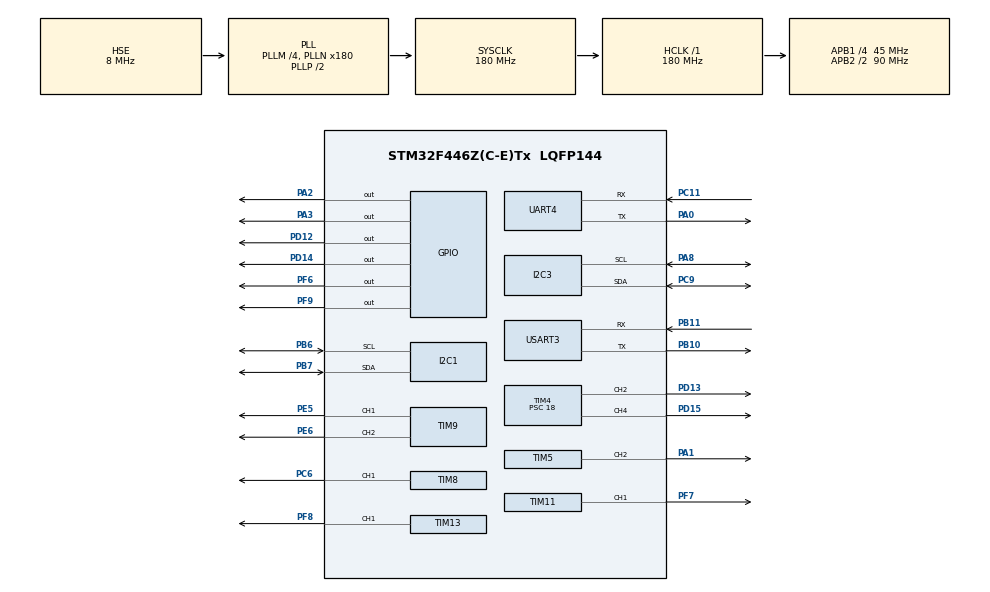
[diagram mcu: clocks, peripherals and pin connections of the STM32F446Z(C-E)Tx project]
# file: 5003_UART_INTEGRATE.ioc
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Mcu.Family=STM32F4
Mcu.Name=STM32F446Z(C-E)Tx
Mcu.Package=LQFP144
NVIC.PriorityGroup=NVIC_PRIORITYGROUP_4
NVIC.TIM7_IRQn=true\:0\:0\:false\:false\:true\:true\:true\:true
NVIC.UART4_IRQn=true\:0\:0\:false\:false\:true\:true\:true\:true
PA0-WKUP.Mode=Asynchronous
PA0-WKUP.Signal=UART4_TX
PA1.Signal=S_TIM5_CH2
PA13.Mode=Serial_Wire
PA13.Signal=SYS_JTMS-SWDIO
PA14.Mode=Serial_Wire
PA14.Signal=SYS_JTCK-SWCLK
PA2.Signal=GPIO_Output
PA3.Signal=GPIO_Output
PA8.Mode=I2C
PA8.Signal=I2C3_SCL
PB10.Mode=Asynchronous
PB10.Signal=USART3_TX
PB11.Mode=Asynchronous
PB11.Signal=USART3_RX
PB6.GPIO_Pu=GPIO_PULLUP
PB6.Mode=I2C
PB6.Signal=I2C1_SCL
PB7.GPIO_Pu=GPIO_PULLUP
PB7.Mode=I2C
PB7.Signal=I2C1_SDA
PC11.Mode=Asynchronous
PC11.Signal=UART4_RX
PC14-OSC32_IN.Mode=LSE-External-Oscillator
PC14-OSC32_IN.Signal=RCC_OSC32_IN
PC15-OSC32_OUT.Mode=LSE-External-Oscillator
PC15-OSC32_OUT.Signal=RCC_OSC32_OUT
PC6.Signal=S_TIM8_CH1
PC7.Signal=S_TIM8_CH2
PC8.Signal=S_TIM3_CH3
PC9.Mode=I2C
PC9.Signal=I2C3_SDA
PD12.Signal=GPIO_Output
PD13.Signal=S_TIM4_CH2
PD14.Signal=GPIO_Output
PD15.Signal=S_TIM4_CH4
PE5.Signal=S_TIM9_CH1
PE6.Signal=S_TIM9_CH2
PF0.Signal=I2C2_SDA
PF1.Signal=I2C2_SCL
PF6.Signal=GPIO_Output
PF7.Signal=S_TIM11_CH1
PF8.Signal=S_TIM13_CH1
PF9.Signal=GPIO_Output
PH0-OSC_IN.Mode=HSE-External-Oscillator
PH0-OSC_IN.Signal=RCC_OSC_IN
PH1-OSC_OUT.Mode=HSE-External-Oscillator
PH1-OSC_OUT.Signal=RCC_OSC_OUT
ProjectManager.HeapSize=0x200
ProjectManager.StackSize=0x400
ProjectManager.TargetToolchain=STM32CubeIDE
RCC.48MHZClocksFreq_Value=24000000
RCC.AHBFreq_Value=180000000
RCC.APB1CLKDivider=RCC_HCLK_DIV4
RCC.APB1Freq_Value=45000000
RCC.APB1TimFreq_Value=90000000
RCC.APB2CLKDivider=RCC_HCLK_DIV2
RCC.APB2Freq_Value=90000000
RCC.APB2TimFreq_Value=180000000
RCC.CortexFreq_Value=180000000
RCC.HCLKFreq_Value=180000000
RCC.HSE_VALUE=8000000
RCC.HSI_VALUE=16000000
RCC.PLLM=4
RCC.PLLMUL=RCC_PLL_MUL9
RCC.PLLN=180
RCC.PLLSourceVirtual=RCC_PLLSOURCE_HSE
RCC.PRESCALERUSB=RCC_USBCLKSOURCE_PLL_DIV1_5
RCC.SYSCLKFreq_VALUE=180000000
RCC.SYSCLKSource=RCC_SYSCLKSOURCE_PLLCLK
RCC.SYSCLKSourceVirtual=RCC_SYSCLKSOURCE_PLLCLK
RCC.USBFreq_Value=180000000
RCC.VCOOutputFreq_Value=360000000
SH.S_TIM11_CH1.0=TIM11_CH1,PWM Generation1 CH1
SH.S_TIM13_CH1.0=TIM13_CH1,PWM Generation1 CH1
SH.S_TIM3_CH3.0=TIM3_CH3
SH.S_TIM4_CH2.0=TIM4_CH2,PWM Generation2 CH2
SH.S_TIM4_CH4.0=TIM4_CH4,PWM Generation4 CH4
SH.S_TIM5_CH2.0=TIM5_CH2,PWM Generation2 CH2
SH.S_TIM8_CH1.0=TIM8_CH1,PWM Generation1 CH1
SH.S_TIM8_CH2.0=TIM8_CH2
SH.S_TIM9_CH1.0=TIM9_CH1,PWM Generation1 CH1
SH.S_TIM9_CH2.0=TIM9_CH2,PWM Generation2 CH2
TIM11.Channel=TIM_CHANNEL_1
TIM11.Period=255
TIM11.Prescaler=36
TIM13.Channel=TIM_CHANNEL_1
TIM13.Period=255
TIM13.Prescaler=18
TIM4.Channel-PWM\ Generation2\ CH2=TIM_CHANNEL_2
TIM4.Channel-PWM\ Generation4\ CH4=TIM_CHANNEL_4
TIM4.Period=255
TIM4.Prescaler=18
TIM5.Channel-PWM\ Generation2\ CH2=TIM_CHANNEL_2
TIM5.Period=255
TIM5.Prescaler=18
TIM7.Period=100-1
TIM7.Prescaler=9000-1
TIM8.Channel-PWM\ Generation1\ CH1=TIM_CHANNEL_1
TIM8.Period=255
TIM8.Prescaler=36
TIM9.Channel-PWM\ Generation1\ CH1=TIM_CHANNEL_1
TIM9.Channel-PWM\ Generation2\ CH2=TIM_CHANNEL_2
UART4.VirtualMode=Asynchronous
USART3.VirtualMode=VM_ASYNC
VP_TIM11_VS_ClockSourceINT.Mode=Enable_Timer
VP_TIM13_VS_ClockSourceINT.Mode=Enable_Timer
VP_TIM4_VS_ClockSourceINT.Mode=Internal
VP_TIM5_VS_ClockSourceINT.Mode=Internal
VP_TIM7_VS_ClockSourceINT.Mode=Enable_Timer
VP_TIM8_VS_ClockSourceINT.Mode=Internal
VP_TIM9_VS_ClockSourceINT.Mode=Internal
board=NUCLEO-F446ZE

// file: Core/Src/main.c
/* USER CODE BEGIN Header */
/* USER CODE END Header */
#include "main.h"

/* USER CODE BEGIN Includes */

#include<stdio.h>
#include<stdbool.h>
#include<stdint.h>
#include<string.h>
#include<math.h>
#include<stdlib.h>
#include"Encoderlib.h"
#include"Cytron.h"
#include"BNO055_STM32.h"
#include"BTS7960.h"
#include"OdriveS1.h"
#include"PCA9685.h"

/* USER CODE END Includes */

/* USER CODE BEGIN PD */

Cytron m1, m2, m3;
Cytron SM1, Belt, Turret;
BTS conveyer;
PCA_t PCA;

encoder_instance L_enc, R_enc, F_enc;
uint16_t timer_counter1, timer_counter2, timer_counter3, timer_counter4;
float L_dist, R_dist, F_dist;
#define CPR 8192
#define WHEEL_RADIUS 5.4/2.0

#define LENGTH1 13.5
#define LENGTH2 13.5
#define LENGTH3 26        // x axis wheel

#define PI 3.14159265358979323846
float x_local, y_local, x_global, y_global;
double FCount = 0, LCount = 0, RCount = 0;
double prevFCount = 0, prevLCount = 0, prevRCount = 0;
double dF, dL, dR;
double xPosition = 0;
double yPosition = 0;
double thetaPosition = 0;

double deltaX, deltaY;
double deltaX_global, deltaY_global;

bool reached = false;

double prevTheta = 0;   // IMU previous heading

#define BNO055_ADDR (0x28 << 1)
#define PWR_MODE 0x3E
#define OPR_MODE 0x3D
#define EUL_DATA_START 0x1A

uint8_t bno_data[6];
float current_heading, current_roll, current_pitch;

#define data_size 7
#define slave_addr 8

char buffer[100];

#define radius       1
#define length       1
#define MAX_PWM       150
#define LINEAR_PWM   60
#define DEADZONE     30
#define dt           0.001

int8_t data[data_size];

char msg[300];
int L_joystick_x = 0, L_joystick_y = 0, R_joystick_x = 0, R_joystick_y = 0,
		omega;
bool right;
bool down;
bool up;
bool left;
bool square;
bool cross;
bool circle;
bool triangle;

bool PS, Touchpad, Options, Share, R3, L3, R1, L1;
;

int pwm1, pwm2, pwm3;
float PWM1, PWM2, PWM3;

float bot_vel, theta;

bool flag = false;
bool moving = false;
bool is_omega = false;
bool pid_tim = false;
bool horizontal = false;
bool vertical = false;
bool point = false;

float P, I, D;
float p, i, d;

float kp = 1.1;   // linear pid
float ki = 0;
float kd = 0;

float Kp = 1.1;   // correction pid
float Ki = 0;
float Kd = 0;

float KP = 6; // angular pid
float KI = 0;
float KD = 0.75;

float vel;

float error, error1, error2, d_error;
float ERR, ERR1, ERR2, D_error;
float correction;
float CORRECTION;
float target_heading = 0;

float target_distance, current_distance, angle;

bool pid = true;

unsigned long t_start, t_end;
float dt2;

volatile bool imu = false;
volatile bool value = false;

uint32_t i2c1, i2c2;

#define UART_RX_BUFFER_SIZE 7
uint8_t UAR_RX_BUFFER[UART_RX_BUFFER_SIZE];
volatile uint8_t UARTFlag = 0;

/* USER CODE END PD */

I2C_HandleTypeDef hi2c1;
I2C_HandleTypeDef hi2c3;

TIM_HandleTypeDef htim4;
TIM_HandleTypeDef htim5;
TIM_HandleTypeDef htim7;
TIM_HandleTypeDef htim8;
TIM_HandleTypeDef htim9;
TIM_HandleTypeDef htim11;
TIM_HandleTypeDef htim13;

UART_HandleTypeDef huart4;
UART_HandleTypeDef huart3;

void SystemClock_Config(void);
static void MX_GPIO_Init(void);
static void MX_TIM4_Init(void);
static void MX_USART3_UART_Init(void);
static void MX_I2C1_Init(void);
static void MX_TIM11_Init(void);
static void MX_TIM7_Init(void);
static void MX_TIM13_Init(void);
static void MX_I2C3_Init(void);
static void MX_TIM5_Init(void);
static void MX_TIM8_Init(void);
static void MX_TIM9_Init(void);
static void MX_UART4_Init(void);

/* USER CODE BEGIN 0 */

uint8_t RxData[8];

uint32_t blink_delay;

float radians(float angle) {
	return angle * 2 * 3.14159265358979323846 / 360.0;
}

float degrees(float angle) {
	return angle * 360.0 / (2 * 3.14159265358979323846);
}

float map(float x, float in_min, float in_max, float out_min, float out_max) {
	return (x - in_min) * (out_max - out_min) / (in_max - in_min) + out_min;
}

float constrain(float num, float min, float max) {

	if (num > max) {
		return max;
	}

	else if (num < min) {
		return min;
	}

	else {
		return num;
	}
}

float normalise_angle(float angle) {
	if (angle > 180.0) {
		angle -= 360.0;
	}
	if (angle < -180.0) {
		angle += 360.0;
	}
	return angle;
}

void get_angle() {

	bno055_vector_t v = bno055_getVectorEuler();
	current_heading = v.x;

}

void get_value() {

	if (HAL_OK == (HAL_I2C_Master_Receive(&hi2c1, slave_addr << 1, (uint8_t*) data, data_size, HAL_MAX_DELAY))) {
	if( UARTFlag )

		UARTFlag = 0;

		up = ((data[0] & (1 << 0)) ? 1 : 0);
		right = ((data[0] & (1 << 1)) ? 1 : 0);
		down = ((data[0] & (1 << 2)) ? 1 : 0);
		left = ((data[0] & (1 << 3)) ? 1 : 0);
		triangle = ((data[0] & (1 << 4)) ? 1 : 0);
		circle = ((data[0] & (1 << 5)) ? 1 : 0);
		cross = ((data[0] & (1 << 6)) ? 1 : 0);
		square = ((data[0] & (1 << 7)) ? 1 : 0);

		L1 = ((data[1] & (1 << 0)) ? 1 : 0);
		R1 = ((data[1] & (1 << 1)) ? 1 : 0);
		L3 = ((data[1] & (1 << 2)) ? 1 : 0);
		R3 = ((data[1] & (1 << 3)) ? 1 : 0);
		Share = ((data[1] & (1 << 4)) ? 1 : 0);
		Options = ((data[1] & (1 << 5)) ? 1 : 0);
		Touchpad = ((data[1] & (1 << 6)) ? 1 : 0);
		PS = ((data[1] & (1 << 7)) ? 1 : 0);

		omega = -data[6];
		R_joystick_y = data[5];
		R_joystick_x = data[4];
		L_joystick_x = data[2];
		L_joystick_y = data[3];

		omega = map(omega, -127, 127, -50, 50);

//        L_joystick_x = map(data[0], 0, 255, -127, 127);
//        L_joystick_y = map(data[1], 0, 255, -127, 127);
//
//
//       // omega = map(data[3] - data[4], -255, 255, -127, 127);
//
//
////        L_joystick_x = data[0];

		if (abs(L_joystick_x) < DEADZONE) {
			L_joystick_x = 0;
		}
		if (abs(L_joystick_y) < DEADZONE) {
			L_joystick_y = 0;
		}
		if (abs(omega) < DEADZONE) {
			omega = 0;
		}

		//  sprintf(msg," sq %d x %d o %d tri %d left %d down %d right %d up %d  PS %d Touchpad %d Options %d Share %d R3 %d L3 %d R1 %d L1 %d lx %d ly %d rx %d ry%d omega %d \r\n",square, cross, circle, triangle, left, down, right, up, PS , Touchpad , Options , Share , R3 , L3 , R1 , L1, L_joystick_x, L_joystick_y, R_joystick_x, R_joystick_y, omega);

		//sprintf(msg,"%d   %d\r\n" data[4], data[5]);
		// HAL_UART_Transmit(&huart3, (uint8_t*)msg, strlen(msg), HAL_MAX_DELAY);

	}
}

void find_wheel_vel() {

	bot_vel = sqrt(pow(L_joystick_x, 2) + pow(L_joystick_y, 2));
	theta = atan2(L_joystick_y, L_joystick_x) + radians(target_heading);

	pwm1 = constrain(
			((bot_vel * cos(theta) - (length * omega)) / radius) + CORRECTION,
			-MAX_PWM, MAX_PWM) * 1.3;
	pwm2 = constrain(
			((sqrt(3) * bot_vel * sin(theta) - bot_vel * cos(theta)
					- 2 * length * omega) / (2 * radius)) + CORRECTION,
			-MAX_PWM, MAX_PWM) * 1.3;
	pwm3 = constrain(
			(-1
					* ((bot_vel * cos(theta) + sqrt(3) * bot_vel * sin(theta)
							+ 2 * length * omega) / (2 * radius))) + CORRECTION,
			-MAX_PWM, MAX_PWM) * 1.3;

}

void rotate_motor(int pwm1, int pwm2, int pwm3) {

	RotateCytron(&m1, pwm1);
	RotateCytron(&m2, pwm2);
	RotateCytron(&m3, pwm3);

}

void PID2() {

	ERR = normalise_angle(target_heading - current_heading);
	D_error = ERR - ERR2;
	ERR2 = ERR;

	p = ERR * KP;
	i = i + (ERR * (float) dt2 * KI);
	d = (D_error / (float) dt2) * KD;

	CORRECTION = p + i + d;

}

void STAFF_Motor() {
	if (R_joystick_y > 50) {
		RotateCytron(&SM1, 70);
	} else if (R_joystick_y < -50) {
		RotateCytron(&SM1, -70);
	} else {
		StopCytron(&SM1);
	}

}

typedef struct {
	bool prevState;
	bool flag;
} ToggleButton;

ToggleButton StaffGripServo = { 0 };
ToggleButton StaffAttackServo = { 0 };

void STAFF_Servo() {
	// GRIP SERVO
	if (square && !StaffGripServo.prevState) {
		StaffGripServo.prevState = true;
		StaffGripServo.flag = !StaffGripServo.flag;

		if (StaffGripServo.flag) {

			//			RotateServo(&PCA, GRIP_SERVO_1, GRIP_SERVO_1_GRIP_ANGLE);
			//			RotateServo(&PCA, 8, 90);
			RotateServo(&PCA, 11, 20);

			RotateServo(&PCA, 1, 50);
			RotateServo(&PCA, 8, 0);
		} else {
			//			RotateServo(&PCA, GRIP_SERVO_1, GRIP_SERVO_1_RELEASE_ANGLE);
			//			RotateServo(&PCA, 8, 150);
			RotateServo(&PCA, 11, 180);

			RotateServo(&PCA, 1, 170);
			RotateServo(&PCA, 8, 70);
		}
	} else if (!square) {
		StaffGripServo.prevState = false;
	}

	// ATTACK SERVO
	if (triangle && !StaffAttackServo.prevState) {
		StaffAttackServo.prevState = true;
		StaffAttackServo.flag = !StaffAttackServo.flag;

		if (StaffAttackServo.flag) {
			//			RotateServo(&PCA, ATTACK_SERVO_1, ATTACK_SERVO_1_ATTACK_ANGLE);
			RotateServo(&PCA, 12, 110);
			RotateServo(&PCA, 10, 15);
			RotateServo(&PCA, 2, 67);
		} else {
			//			RotateServo(&PCA, ATTACK_SERVO_1, ATTACK_SERVO_1_NORMAL_ANGLE);
			RotateServo(&PCA, 12, 150);
			RotateServo(&PCA, 10, 58);
			RotateServo(&PCA, 2, 110);
		}
	} else if (!triangle) {
		StaffAttackServo.prevState = false;
	}
}

void STAFF_Motion() {
	STAFF_Motor();
	STAFF_Servo();
}

void TurretMotor() {
	if (right) {
		RotateCytron(&Turret, 70);
	} else if (left) {
		RotateCytron(&Turret, -70);
	} else {
		StopCytron(&Turret);
	}
}

void BeltMotor() {
	if (up) {
		RotateCytron(&Belt, 50);
	} else if (down) {
		RotateCytron(&Belt, -50);
	} else {
		StopCytron(&Belt);
	}
}

ToggleButton KFSPickServo = { 0 };

void KFS_Pick_Servo() {
	// GRIP SERVO
	if (circle && !KFSPickServo.prevState) {
		KFSPickServo.prevState = true;
		KFSPickServo.flag = !KFSPickServo.flag;

		if (KFSPickServo.flag) {
			RotateServo(&PCA, 3, 60);	//RIGHT
			RotateServo(&PCA, 4, 160);	//LEFT
		} else {
			RotateServo(&PCA, 3, 160);	//RIGHT
			RotateServo(&PCA, 4, 60);	//LEFT
		}
	} else if (!circle) {
		KFSPickServo.prevState = false;
	}
}

void ConveyerMotor() {

	if (L1) {
		RotateMotor(&conveyer, 50);
	} else if (R1) {
		RotateMotor(&conveyer, -50);
	} else {
		RotateMotor(&conveyer, 0);
	}

}

OdriveS1 Screw;
ToggleButton ODrive = { 0 };

void Screw_ODrive() {
	if (Touchpad && !ODrive.prevState) {
		ODrive.prevState = true;
		ODrive.flag = !ODrive.flag;

		if (ODrive.flag) {
			//ODrive_goTo(OdriveS1 *dev, float position, float velocity)
			ODrive_goTo(&Screw, 45.0f, 20.0f);
		} else {
			ODrive_goTo(&Screw, 2.0f, 20.0f);
		}
	} else if (!Touchpad) {
		ODrive.prevState = false;
	}

}

/* USER CODE END 0 */

int main(void)
{

  /* MCU Configuration--------------------------------------------------------*/

  /* Reset of all peripherals, Initializes the Flash interface and the Systick. */
  HAL_Init();

  /* Configure the system clock */
  SystemClock_Config();

  /* Initialize all configured peripherals */
  MX_GPIO_Init();
  MX_TIM4_Init();
  MX_USART3_UART_Init();
  MX_I2C1_Init();
  MX_TIM11_Init();
  MX_TIM7_Init();
  MX_TIM13_Init();
  MX_I2C3_Init();
  MX_TIM5_Init();
  MX_TIM8_Init();
  MX_TIM9_Init();
  MX_UART4_Init();
  /* USER CODE BEGIN 2 */

	HAL_TIM_Base_Start_IT(&htim7);

	//  HAL_TIM_PWM_Start(&htim9, TIM_CHANNEL_1);
	//  HAL_TIM_PWM_Start(&htim9, TIM_CHANNEL_2);
	//  HAL_TIM_PWM_Start(&htim4, TIM_CHANNEL_3);
	//  HAL_TIM_PWM_Start(&htim4, TIM_CHANNEL_4);
	//  HAL_TIM_PWM_Start(&htim4, TIM_CHANNEL_1);
	//  HAL_TIM_PWM_Start(&htim4, TIM_CHANNEL_2);

	//BNO055_init();

	bno055_assignI2C(&hi2c1);
	bno055_setup();
	bno055_setOperationModeNDOF();

//   InitBTS(&m1, &htim9, TIM_CHANNEL_1, &htim9, TIM_CHANNEL_2, 2, 1000);  //PE5   PE6
//   InitBTS(&m2, &htim4, TIM_CHANNEL_1, &htim4, TIM_CHANNEL_2, 1, 1000);  //PD12  PD13
//   InitBTS(&m3, &htim4, TIM_CHANNEL_3, &htim4, TIM_CHANNEL_4, 1, 1000);  //PD14  PD15

	InitBTS(&conveyer, &htim9, TIM_CHANNEL_1, &htim9, TIM_CHANNEL_2, 2, 1000);
	InitCytron(&m1, &htim11, TIM_CHANNEL_1, GPIOF, GPIO_PIN_6, 0); // DIR PF6   PWM PF7    L3
	InitCytron(&m2, &htim4, TIM_CHANNEL_2, GPIOD, GPIO_PIN_12, 1); // DIR PD12  PWM PD13   L2
	InitCytron(&m3, &htim4, TIM_CHANNEL_4, GPIOD, GPIO_PIN_14, 1); // DIR PD14  PWM PD15   L1
	InitCytron(&SM1, &htim8, TIM_CHANNEL_1, GPIOA, GPIO_PIN_3, 1); // DIR PA3   PWM PC6
	InitCytron(&Turret, &htim5, TIM_CHANNEL_2, GPIOA, GPIO_PIN_2, 0); // DIR PA2   PWM PA1
	InitCytron(&Belt, &htim13, TIM_CHANNEL_1, GPIOF, GPIO_PIN_9, 1); // DIR PF9   PWM PF8

	HAL_UART_Receive_IT(&huart4, data, data_size);

//   HAL_TIM_Encoder_Start(&htim1, TIM_CHANNEL_ALL);
//   HAL_TIM_Encoder_Start(&htim2, TIM_CHANNEL_ALL);
//   HAL_TIM_Encoder_Start(&htim3, TIM_CHANNEL_ALL);

	rotate_motor(0, 0, 0);
	InitPCA(&PCA, &hi2c3, 50);

	Screw.huart = &huart3;

	current_heading = 0;
	HAL_Delay(3000);

  /* USER CODE END 2 */

  /* Infinite loop */
  /* USER CODE BEGIN WHILE */

	while (1) {

		t_start = HAL_GetTick();
		dt2 = (t_start - t_end) / 1000.0;
		t_end = t_start;

//		get_value();

		STAFF_Motion();
		TurretMotor();
		BeltMotor();
		KFS_Pick_Servo();
		ConveyerMotor();
		Screw_ODrive();

		if (imu) {
			get_angle();
			imu = false;
		}

		if (omega) {
			pid = false;
			flag = true;
		}

		if (!omega && flag) {
			flag = false;
			pid = true;
			target_heading = current_heading;
		}

		if (pid) {
			PID2();
		}

		// RotateMotor(&m4, 50);

		find_wheel_vel();
		rotate_motor(pwm1, pwm2, pwm3);

		sprintf(msg,
				"ANGLE %.2f  LX %d  LY %d  pwm1 %d  pwm2 %d  pwm3 %d omega  %d   \r\n",
				current_heading, L_joystick_x, L_joystick_y, pwm1, pwm2, pwm3,
				omega);
		HAL_UART_Transmit(&huart3, (uint8_t*) msg, strlen(msg), HAL_MAX_DELAY);
//
		HAL_Delay(10);

	}

    /* USER CODE END WHILE */

}

void SystemClock_Config(void)
{
  RCC_OscInitTypeDef RCC_OscInitStruct = {0};
  RCC_ClkInitTypeDef RCC_ClkInitStruct = {0};

  /** Configure the main internal regulator output voltage
  */
  __HAL_RCC_PWR_CLK_ENABLE();
  __HAL_PWR_VOLTAGESCALING_CONFIG(PWR_REGULATOR_VOLTAGE_SCALE1);

  /** Initializes the RCC Oscillators according to the specified parameters
  * in the RCC_OscInitTypeDef structure.
  */
  RCC_OscInitStruct.OscillatorType = RCC_OSCILLATORTYPE_HSE;
  RCC_OscInitStruct.HSEState = RCC_HSE_ON;
  RCC_OscInitStruct.PLL.PLLState = RCC_PLL_ON;
  RCC_OscInitStruct.PLL.PLLSource = RCC_PLLSOURCE_HSE;
  RCC_OscInitStruct.PLL.PLLM = 4;
  RCC_OscInitStruct.PLL.PLLN = 180;
  RCC_OscInitStruct.PLL.PLLP = RCC_PLLP_DIV2;
  RCC_OscInitStruct.PLL.PLLQ = 2;
  RCC_OscInitStruct.PLL.PLLR = 2;
  if (HAL_RCC_OscConfig(&RCC_OscInitStruct) != HAL_OK)
  {
    Error_Handler();
  }

  /** Activate the Over-Drive mode
  */
  if (HAL_PWREx_EnableOverDrive() != HAL_OK)
  {
    Error_Handler();
  }

  /** Initializes the CPU, AHB and APB buses clocks
  */
  RCC_ClkInitStruct.ClockType = RCC_CLOCKTYPE_HCLK|RCC_CLOCKTYPE_SYSCLK
                              |RCC_CLOCKTYPE_PCLK1|RCC_CLOCKTYPE_PCLK2;
  RCC_ClkInitStruct.SYSCLKSource = RCC_SYSCLKSOURCE_PLLCLK;
  RCC_ClkInitStruct.AHBCLKDivider = RCC_SYSCLK_DIV1;
  RCC_ClkInitStruct.APB1CLKDivider = RCC_HCLK_DIV4;
  RCC_ClkInitStruct.APB2CLKDivider = RCC_HCLK_DIV2;

  if (HAL_RCC_ClockConfig(&RCC_ClkInitStruct, FLASH_LATENCY_5) != HAL_OK)
  {
    Error_Handler();
  }
}

static void MX_I2C1_Init(void)
{

  hi2c1.Instance = I2C1;
  hi2c1.Init.ClockSpeed = 100000;
  hi2c1.Init.DutyCycle = I2C_DUTYCYCLE_2;
  hi2c1.Init.OwnAddress1 = 0;
  hi2c1.Init.AddressingMode = I2C_ADDRESSINGMODE_7BIT;
  hi2c1.Init.DualAddressMode = I2C_DUALADDRESS_DISABLE;
  hi2c1.Init.OwnAddress2 = 0;
  hi2c1.Init.GeneralCallMode = I2C_GENERALCALL_DISABLE;
  hi2c1.Init.NoStretchMode = I2C_NOSTRETCH_DISABLE;
  if (HAL_I2C_Init(&hi2c1) != HAL_OK)
  {
    Error_Handler();
  }

}

static void MX_I2C3_Init(void)
{

  hi2c3.Instance = I2C3;
  hi2c3.Init.ClockSpeed = 100000;
  hi2c3.Init.DutyCycle = I2C_DUTYCYCLE_2;
  hi2c3.Init.OwnAddress1 = 0;
  hi2c3.Init.AddressingMode = I2C_ADDRESSINGMODE_7BIT;
  hi2c3.Init.DualAddressMode = I2C_DUALADDRESS_DISABLE;
  hi2c3.Init.OwnAddress2 = 0;
  hi2c3.Init.GeneralCallMode = I2C_GENERALCALL_DISABLE;
  hi2c3.Init.NoStretchMode = I2C_NOSTRETCH_DISABLE;
  if (HAL_I2C_Init(&hi2c3) != HAL_OK)
  {
    Error_Handler();
  }

}

static void MX_TIM4_Init(void)
{

  TIM_ClockConfigTypeDef sClockSourceConfig = {0};
  TIM_MasterConfigTypeDef sMasterConfig = {0};
  TIM_OC_InitTypeDef sConfigOC = {0};

  htim4.Instance = TIM4;
  htim4.Init.Prescaler = 18;
  htim4.Init.CounterMode = TIM_COUNTERMODE_UP;
  htim4.Init.Period = 255;
  htim4.Init.ClockDivision = TIM_CLOCKDIVISION_DIV1;
  htim4.Init.AutoReloadPreload = TIM_AUTORELOAD_PRELOAD_DISABLE;
  if (HAL_TIM_Base_Init(&htim4) != HAL_OK)
  {
    Error_Handler();
  }
  sClockSourceConfig.ClockSource = TIM_CLOCKSOURCE_INTERNAL;
  if (HAL_TIM_ConfigClockSource(&htim4, &sClockSourceConfig) != HAL_OK)
  {
    Error_Handler();
  }
  if (HAL_TIM_PWM_Init(&htim4) != HAL_OK)
  {
    Error_Handler();
  }
  sMasterConfig.MasterOutputTrigger = TIM_TRGO_RESET;
  sMasterConfig.MasterSlaveMode = TIM_MASTERSLAVEMODE_DISABLE;
  if (HAL_TIMEx_MasterConfigSynchronization(&htim4, &sMasterConfig) != HAL_OK)
  {
    Error_Handler();
  }
  sConfigOC.OCMode = TIM_OCMODE_PWM1;
  sConfigOC.Pulse = 0;
  sConfigOC.OCPolarity = TIM_OCPOLARITY_HIGH;
  sConfigOC.OCFastMode = TIM_OCFAST_DISABLE;
  if (HAL_TIM_PWM_ConfigChannel(&htim4, &sConfigOC, TIM_CHANNEL_2) != HAL_OK)
  {
    Error_Handler();
  }
  if (HAL_TIM_PWM_ConfigChannel(&htim4, &sConfigOC, TIM_CHANNEL_4) != HAL_OK)
  {
    Error_Handler();
  }
  HAL_TIM_MspPostInit(&htim4);

}

static void MX_TIM5_Init(void)
{

  TIM_ClockConfigTypeDef sClockSourceConfig = {0};
  TIM_MasterConfigTypeDef sMasterConfig = {0};
  TIM_OC_InitTypeDef sConfigOC = {0};

  htim5.Instance = TIM5;
  htim5.Init.Prescaler = 18;
  htim5.Init.CounterMode = TIM_COUNTERMODE_UP;
  htim5.Init.Period = 255;
  htim5.Init.ClockDivision = TIM_CLOCKDIVISION_DIV1;
  htim5.Init.AutoReloadPreload = TIM_AUTORELOAD_PRELOAD_DISABLE;
  if (HAL_TIM_Base_Init(&htim5) != HAL_OK)
  {
    Error_Handler();
  }
  sClockSourceConfig.ClockSource = TIM_CLOCKSOURCE_INTERNAL;
  if (HAL_TIM_ConfigClockSource(&htim5, &sClockSourceConfig) != HAL_OK)
  {
    Error_Handler();
  }
  if (HAL_TIM_PWM_Init(&htim5) != HAL_OK)
  {
    Error_Handler();
  }
  sMasterConfig.MasterOutputTrigger = TIM_TRGO_RESET;
  sMasterConfig.MasterSlaveMode = TIM_MASTERSLAVEMODE_DISABLE;
  if (HAL_TIMEx_MasterConfigSynchronization(&htim5, &sMasterConfig) != HAL_OK)
  {
    Error_Handler();
  }
  sConfigOC.OCMode = TIM_OCMODE_PWM1;
  sConfigOC.Pulse = 0;
  sConfigOC.OCPolarity = TIM_OCPOLARITY_HIGH;
  sConfigOC.OCFastMode = TIM_OCFAST_DISABLE;
  if (HAL_TIM_PWM_ConfigChannel(&htim5, &sConfigOC, TIM_CHANNEL_2) != HAL_OK)
  {
    Error_Handler();
  }
  HAL_TIM_MspPostInit(&htim5);

}

static void MX_TIM7_Init(void)
{

  TIM_MasterConfigTypeDef sMasterConfig = {0};

  htim7.Instance = TIM7;
  htim7.Init.Prescaler = 9000-1;
  htim7.Init.CounterMode = TIM_COUNTERMODE_UP;
  htim7.Init.Period = 100-1;
  htim7.Init.AutoReloadPreload = TIM_AUTORELOAD_PRELOAD_DISABLE;
  if (HAL_TIM_Base_Init(&htim7) != HAL_OK)
  {
    Error_Handler();
  }
  sMasterConfig.MasterOutputTrigger = TIM_TRGO_RESET;
  sMasterConfig.MasterSlaveMode = TIM_MASTERSLAVEMODE_DISABLE;
  if (HAL_TIMEx_MasterConfigSynchronization(&htim7, &sMasterConfig) != HAL_OK)
  {
    Error_Handler();
  }

}

static void MX_TIM8_Init(void)
{

  TIM_ClockConfigTypeDef sClockSourceConfig = {0};
  TIM_MasterConfigTypeDef sMasterConfig = {0};
  TIM_OC_InitTypeDef sConfigOC = {0};
  TIM_BreakDeadTimeConfigTypeDef sBreakDeadTimeConfig = {0};

  htim8.Instance = TIM8;
  htim8.Init.Prescaler = 36;
  htim8.Init.CounterMode = TIM_COUNTERMODE_UP;
  htim8.Init.Period = 255;
  htim8.Init.ClockDivision = TIM_CLOCKDIVISION_DIV1;
  htim8.Init.RepetitionCounter = 0;
  htim8.Init.AutoReloadPreload = TIM_AUTORELOAD_PRELOAD_DISABLE;
  if (HAL_TIM_Base_Init(&htim8) != HAL_OK)
  {
    Error_Handler();
  }
  sClockSourceConfig.ClockSource = TIM_CLOCKSOURCE_INTERNAL;
  if (HAL_TIM_ConfigClockSource(&htim8, &sClockSourceConfig) != HAL_OK)
  {
    Error_Handler();
  }
  if (HAL_TIM_PWM_Init(&htim8) != HAL_OK)
  {
    Error_Handler();
  }
  sMasterConfig.MasterOutputTrigger = TIM_TRGO_RESET;
  sMasterConfig.MasterSlaveMode = TIM_MASTERSLAVEMODE_DISABLE;
  if (HAL_TIMEx_MasterConfigSynchronization(&htim8, &sMasterConfig) != HAL_OK)
  {
    Error_Handler();
  }
  sConfigOC.OCMode = TIM_OCMODE_PWM1;
  sConfigOC.Pulse = 0;
  sConfigOC.OCPolarity = TIM_OCPOLARITY_HIGH;
  sConfigOC.OCNPolarity = TIM_OCNPOLARITY_HIGH;
  sConfigOC.OCFastMode = TIM_OCFAST_DISABLE;
  sConfigOC.OCIdleState = TIM_OCIDLESTATE_RESET;
  sConfigOC.OCNIdleState = TIM_OCNIDLESTATE_RESET;
  if (HAL_TIM_PWM_ConfigChannel(&htim8, &sConfigOC, TIM_CHANNEL_1) != HAL_OK)
  {
    Error_Handler();
  }
  sBreakDeadTimeConfig.OffStateRunMode = TIM_OSSR_DISABLE;
  sBreakDeadTimeConfig.OffStateIDLEMode = TIM_OSSI_DISABLE;
  sBreakDeadTimeConfig.LockLevel = TIM_LOCKLEVEL_OFF;
  sBreakDeadTimeConfig.DeadTime = 0;
  sBreakDeadTimeConfig.BreakState = TIM_BREAK_DISABLE;
  sBreakDeadTimeConfig.BreakPolarity = TIM_BREAKPOLARITY_HIGH;
  sBreakDeadTimeConfig.AutomaticOutput = TIM_AUTOMATICOUTPUT_DISABLE;
  if (HAL_TIMEx_ConfigBreakDeadTime(&htim8, &sBreakDeadTimeConfig) != HAL_OK)
  {
    Error_Handler();
  }
  HAL_TIM_MspPostInit(&htim8);

}

static void MX_TIM9_Init(void)
{

  TIM_ClockConfigTypeDef sClockSourceConfig = {0};
  TIM_OC_InitTypeDef sConfigOC = {0};

  htim9.Instance = TIM9;
  htim9.Init.Prescaler = 0;
  htim9.Init.CounterMode = TIM_COUNTERMODE_UP;
  htim9.Init.Period = 65535;
  htim9.Init.ClockDivision = TIM_CLOCKDIVISION_DIV1;
  htim9.Init.AutoReloadPreload = TIM_AUTORELOAD_PRELOAD_DISABLE;
  if (HAL_TIM_Base_Init(&htim9) != HAL_OK)
  {
    Error_Handler();
  }
  sClockSourceConfig.ClockSource = TIM_CLOCKSOURCE_INTERNAL;
  if (HAL_TIM_ConfigClockSource(&htim9, &sClockSourceConfig) != HAL_OK)
  {
    Error_Handler();
  }
  if (HAL_TIM_PWM_Init(&htim9) != HAL_OK)
  {
    Error_Handler();
  }
  sConfigOC.OCMode = TIM_OCMODE_PWM1;
  sConfigOC.Pulse = 0;
  sConfigOC.OCPolarity = TIM_OCPOLARITY_HIGH;
  sConfigOC.OCFastMode = TIM_OCFAST_DISABLE;
  if (HAL_TIM_PWM_ConfigChannel(&htim9, &sConfigOC, TIM_CHANNEL_1) != HAL_OK)
  {
    Error_Handler();
  }
  if (HAL_TIM_PWM_ConfigChannel(&htim9, &sConfigOC, TIM_CHANNEL_2) != HAL_OK)
  {
    Error_Handler();
  }
  HAL_TIM_MspPostInit(&htim9);

}

static void MX_TIM11_Init(void)
{

  TIM_OC_InitTypeDef sConfigOC = {0};

  htim11.Instance = TIM11;
  htim11.Init.Prescaler = 36;
  htim11.Init.CounterMode = TIM_COUNTERMODE_UP;
  htim11.Init.Period = 255;
  htim11.Init.ClockDivision = TIM_CLOCKDIVISION_DIV1;
  htim11.Init.AutoReloadPreload = TIM_AUTORELOAD_PRELOAD_DISABLE;
  if (HAL_TIM_Base_Init(&htim11) != HAL_OK)
  {
    Error_Handler();
  }
  if (HAL_TIM_PWM_Init(&htim11) != HAL_OK)
  {
    Error_Handler();
  }
  sConfigOC.OCMode = TIM_OCMODE_PWM1;
  sConfigOC.Pulse = 0;
  sConfigOC.OCPolarity = TIM_OCPOLARITY_HIGH;
  sConfigOC.OCFastMode = TIM_OCFAST_DISABLE;
  if (HAL_TIM_PWM_ConfigChannel(&htim11, &sConfigOC, TIM_CHANNEL_1) != HAL_OK)
  {
    Error_Handler();
  }
  HAL_TIM_MspPostInit(&htim11);

}

static void MX_TIM13_Init(void)
{

  TIM_OC_InitTypeDef sConfigOC = {0};

  htim13.Instance = TIM13;
  htim13.Init.Prescaler = 18;
  htim13.Init.CounterMode = TIM_COUNTERMODE_UP;
  htim13.Init.Period = 255;
  htim13.Init.ClockDivision = TIM_CLOCKDIVISION_DIV1;
  htim13.Init.AutoReloadPreload = TIM_AUTORELOAD_PRELOAD_DISABLE;
  if (HAL_TIM_Base_Init(&htim13) != HAL_OK)
  {
    Error_Handler();
  }
  if (HAL_TIM_PWM_Init(&htim13) != HAL_OK)
  {
    Error_Handler();
  }
  sConfigOC.OCMode = TIM_OCMODE_PWM1;
  sConfigOC.Pulse = 0;
  sConfigOC.OCPolarity = TIM_OCPOLARITY_HIGH;
  sConfigOC.OCFastMode = TIM_OCFAST_DISABLE;
  if (HAL_TIM_PWM_ConfigChannel(&htim13, &sConfigOC, TIM_CHANNEL_1) != HAL_OK)
  {
    Error_Handler();
  }
  HAL_TIM_MspPostInit(&htim13);

}

static void MX_UART4_Init(void)
{

  huart4.Instance = UART4;
  huart4.Init.BaudRate = 115200;
  huart4.Init.WordLength = UART_WORDLENGTH_8B;
  huart4.Init.StopBits = UART_STOPBITS_1;
  huart4.Init.Parity = UART_PARITY_NONE;
  huart4.Init.Mode = UART_MODE_TX_RX;
  huart4.Init.HwFlowCtl = UART_HWCONTROL_NONE;
  huart4.Init.OverSampling = UART_OVERSAMPLING_16;
  if (HAL_UART_Init(&huart4) != HAL_OK)
  {
    Error_Handler();
  }

}

static void MX_USART3_UART_Init(void)
{

  huart3.Instance = USART3;
  huart3.Init.BaudRate = 115200;
  huart3.Init.WordLength = UART_WORDLENGTH_8B;
  huart3.Init.StopBits = UART_STOPBITS_1;
  huart3.Init.Parity = UART_PARITY_NONE;
  huart3.Init.Mode = UART_MODE_TX_RX;
  huart3.Init.HwFlowCtl = UART_HWCONTROL_NONE;
  huart3.Init.OverSampling = UART_OVERSAMPLING_16;
  if (HAL_UART_Init(&huart3) != HAL_OK)
  {
    Error_Handler();
  }

}

static void MX_GPIO_Init(void)
{
  GPIO_InitTypeDef GPIO_InitStruct = {0};

  /* GPIO Ports Clock Enable */
  __HAL_RCC_GPIOE_CLK_ENABLE();
  __HAL_RCC_GPIOC_CLK_ENABLE();
  __HAL_RCC_GPIOF_CLK_ENABLE();
  __HAL_RCC_GPIOH_CLK_ENABLE();
  __HAL_RCC_GPIOA_CLK_ENABLE();
  __HAL_RCC_GPIOB_CLK_ENABLE();
  __HAL_RCC_GPIOD_CLK_ENABLE();

  /*Configure GPIO pin Output Level */
  HAL_GPIO_WritePin(GPIOF, GPIO_PIN_6|GPIO_PIN_9, GPIO_PIN_RESET);

  /*Configure GPIO pin Output Level */
  HAL_GPIO_WritePin(GPIOA, GPIO_PIN_2|GPIO_PIN_3, GPIO_PIN_RESET);

  /*Configure GPIO pin Output Level */
  HAL_GPIO_WritePin(GPIOD, GPIO_PIN_12|GPIO_PIN_14, GPIO_PIN_RESET);

  /*Configure GPIO pins : PF0 PF1 */
  GPIO_InitStruct.Pin = GPIO_PIN_0|GPIO_PIN_1;
  GPIO_InitStruct.Mode = GPIO_MODE_AF_OD;
  GPIO_InitStruct.Pull = GPIO_NOPULL;
  GPIO_InitStruct.Speed = GPIO_SPEED_FREQ_VERY_HIGH;
  GPIO_InitStruct.Alternate = GPIO_AF4_I2C2;
  HAL_GPIO_Init(GPIOF, &GPIO_InitStruct);

  /*Configure GPIO pins : PF6 PF9 */
  GPIO_InitStruct.Pin = GPIO_PIN_6|GPIO_PIN_9;
  GPIO_InitStruct.Mode = GPIO_MODE_OUTPUT_PP;
  GPIO_InitStruct.Pull = GPIO_NOPULL;
  GPIO_InitStruct.Speed = GPIO_SPEED_FREQ_LOW;
  HAL_GPIO_Init(GPIOF, &GPIO_InitStruct);

  /*Configure GPIO pins : PA2 PA3 */
  GPIO_InitStruct.Pin = GPIO_PIN_2|GPIO_PIN_3;
  GPIO_InitStruct.Mode = GPIO_MODE_OUTPUT_PP;
  GPIO_InitStruct.Pull = GPIO_NOPULL;
  GPIO_InitStruct.Speed = GPIO_SPEED_FREQ_LOW;
  HAL_GPIO_Init(GPIOA, &GPIO_InitStruct);

  /*Configure GPIO pins : PD12 PD14 */
  GPIO_InitStruct.Pin = GPIO_PIN_12|GPIO_PIN_14;
  GPIO_InitStruct.Mode = GPIO_MODE_OUTPUT_PP;
  GPIO_InitStruct.Pull = GPIO_NOPULL;
  GPIO_InitStruct.Speed = GPIO_SPEED_FREQ_LOW;
  HAL_GPIO_Init(GPIOD, &GPIO_InitStruct);

  /*Configure GPIO pin : PC8 */
  GPIO_InitStruct.Pin = GPIO_PIN_8;
  GPIO_InitStruct.Mode = GPIO_MODE_AF_PP;
  GPIO_InitStruct.Pull = GPIO_NOPULL;
  GPIO_InitStruct.Speed = GPIO_SPEED_FREQ_LOW;
  GPIO_InitStruct.Alternate = GPIO_AF2_TIM3;
  HAL_GPIO_Init(GPIOC, &GPIO_InitStruct);

}

/* USER CODE BEGIN 4 */

void HAL_TIM_PeriodElapsedCallback(TIM_HandleTypeDef *htim) {
	/* USER CODE BEGIN Callback 0 */

	/* USER CODE END Callback 0 */
	if (htim->Instance == TIM7) {
		imu = true;
	}
	/* USER CODE BEGIN Callback 1 */

	/* USER CODE END Callback 1 */
}

void HAL_UART_RxCpltCallback(UART_HandleTypeDef *huart){
    if(huart->Instance == UART4) {
    	UARTFlag = 1;
        HAL_UART_Receive_IT(&huart4, data, data_size);
    }
}

/* USER CODE END 4 */

void Error_Handler(void)
{
}
